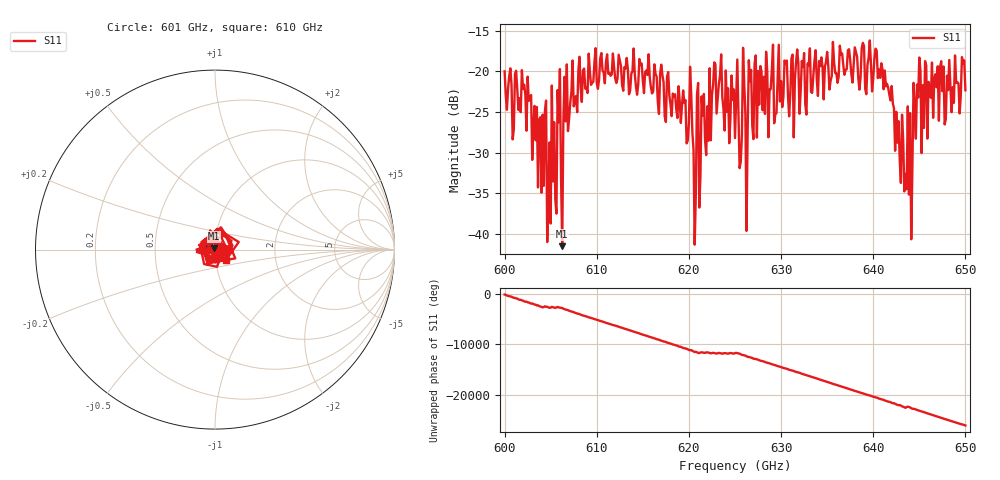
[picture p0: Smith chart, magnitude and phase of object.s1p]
!Created with skrf (http://scikit-rf.org).
# GHz S MA R 50.0
!freq magS11 angS11
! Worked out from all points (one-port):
!   401 points, 600 GHz to 650 GHz, reference 50 ohm
!   lowest |S11| = -41.5 dB at 606.2 GHz (marker M1), VSWR 1.02, Z = 49.6 + j0.705 ohm
!   |S11| at or under -10 dB: start of sweep to end of sweep
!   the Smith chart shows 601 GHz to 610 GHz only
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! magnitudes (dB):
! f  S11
! 600 GHz  -20.0
! 602.6 GHz  -23.6
! 604.2 GHz  -34.1
! 604.8 GHz  -35.2
! 606.2 GHz  -41.5
! 606.4 GHz  -26.2
! 606.6 GHz  -26.2
! 608.2 GHz  -22.0
! 612.5 GHz  -18.6
! 618.8 GHz  -25.7
! 620.2 GHz  -22.9
! 620.5 GHz  -29.7
! 620.9 GHz  -22.9
! 621.1 GHz  -36.8
! 622.1 GHz  -28.5
! 622.8 GHz  -18.9
! 625 GHz  -28.2
! 625.5 GHz  -31.9
! 627.4 GHz  -28.2
! 631.2 GHz  -17.9
! 637.5 GHz  -18.6
! 640.4 GHz  -17.4
! 642 GHz  -21.8
! 643.1 GHz  -25.3
! 643.8 GHz  -24.3
! 644.4 GHz  -21.4
! 644.9 GHz  -23.2
! 650 GHz  -22.3
